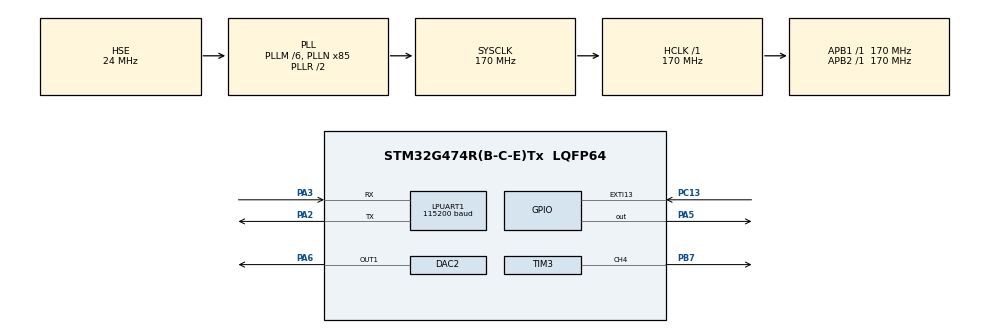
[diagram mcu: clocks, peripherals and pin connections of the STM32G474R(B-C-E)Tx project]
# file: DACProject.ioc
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DAC2.DAC_SampleAndHold-DAC_OUT1_ExtAndInt=DAC_SAMPLEANDHOLD_DISABLE
DAC2.DAC_Trigger_OUT1-DAC_OUT1_ExtAndInt=DAC_TRIGGER_T2_TRGO
Dma.DAC2_CH1.0.Direction=DMA_MEMORY_TO_PERIPH
Dma.DAC2_CH1.0.EventEnable=DISABLE
Dma.DAC2_CH1.0.Instance=DMA1_Channel1
Dma.DAC2_CH1.0.MemDataAlignment=DMA_MDATAALIGN_HALFWORD
Dma.DAC2_CH1.0.MemInc=DMA_MINC_ENABLE
Dma.DAC2_CH1.0.Mode=DMA_CIRCULAR
Dma.DAC2_CH1.0.PeriphDataAlignment=DMA_PDATAALIGN_WORD
Dma.DAC2_CH1.0.PeriphInc=DMA_PINC_DISABLE
Dma.DAC2_CH1.0.Polarity=HAL_DMAMUX_REQ_GEN_RISING
Dma.DAC2_CH1.0.Priority=DMA_PRIORITY_HIGH
Dma.DAC2_CH1.0.RequestNumber=1
Dma.DAC2_CH1.0.SignalID=NONE
Dma.DAC2_CH1.0.SyncEnable=DISABLE
Dma.DAC2_CH1.0.SyncPolarity=HAL_DMAMUX_SYNC_NO_EVENT
Dma.DAC2_CH1.0.SyncRequestNumber=1
Dma.DAC2_CH1.0.SyncSignalID=NONE
Dma.Request0=DAC2_CH1
Dma.Request1=TIM3_CH4
Dma.TIM3_CH4.1.Direction=DMA_MEMORY_TO_PERIPH
Dma.TIM3_CH4.1.EventEnable=DISABLE
Dma.TIM3_CH4.1.Instance=DMA1_Channel2
Dma.TIM3_CH4.1.MemDataAlignment=DMA_MDATAALIGN_BYTE
Dma.TIM3_CH4.1.MemInc=DMA_MINC_ENABLE
Dma.TIM3_CH4.1.Mode=DMA_NORMAL
Dma.TIM3_CH4.1.PeriphDataAlignment=DMA_PDATAALIGN_HALFWORD
Dma.TIM3_CH4.1.PeriphInc=DMA_PINC_DISABLE
Dma.TIM3_CH4.1.Polarity=HAL_DMAMUX_REQ_GEN_RISING
Dma.TIM3_CH4.1.Priority=DMA_PRIORITY_LOW
Dma.TIM3_CH4.1.RequestNumber=1
Dma.TIM3_CH4.1.SignalID=NONE
Dma.TIM3_CH4.1.SyncEnable=DISABLE
Dma.TIM3_CH4.1.SyncPolarity=HAL_DMAMUX_SYNC_NO_EVENT
Dma.TIM3_CH4.1.SyncRequestNumber=1
Dma.TIM3_CH4.1.SyncSignalID=NONE
LPUART1.BaudRate=115200
LPUART1.WordLength=UART_WORDLENGTH_8B
Mcu.Family=STM32G4
Mcu.Name=STM32G474R(B-C-E)Tx
Mcu.Package=LQFP64
NVIC.DMA1_Channel1_IRQn=true\:0\:0\:false\:false\:true\:false\:true
NVIC.DMA1_Channel2_IRQn=true\:0\:0\:false\:false\:true\:false\:true
NVIC.EXTI15_10_IRQn=true\:0\:0\:false\:false\:true\:true\:true
NVIC.PriorityGroup=NVIC_PRIORITYGROUP_4
NVIC.TIM2_IRQn=true\:0\:0\:false\:false\:true\:true\:true
NVIC.TIM3_IRQn=true\:0\:0\:false\:false\:true\:true\:true
NVIC.TIM7_DAC_IRQn=true\:0\:0\:false\:false\:true\:true\:true
PA13.Mode=Serial_Wire
PA13.Signal=SYS_JTMS-SWDIO
PA14.Mode=Serial_Wire
PA14.Signal=SYS_JTCK-SWCLK
PA2.GPIO_Mode=GPIO_MODE_AF_PP
PA2.GPIO_PuPd=GPIO_NOPULL
PA2.GPIO_Speed=GPIO_SPEED_FREQ_LOW
PA2.Mode=Asynchronous
PA2.Signal=LPUART1_TX
PA3.GPIO_Mode=GPIO_MODE_AF_PP
PA3.GPIO_PuPd=GPIO_NOPULL
PA3.GPIO_Speed=GPIO_SPEED_FREQ_LOW
PA3.Mode=Asynchronous
PA3.Signal=LPUART1_RX
PA5.GPIO_ModeDefaultOutputPP=GPIO_MODE_OUTPUT_PP
PA5.GPIO_PuPd=GPIO_NOPULL
PA5.GPIO_Speed=GPIO_SPEED_FREQ_LOW
PA5.PinState=GPIO_PIN_RESET
PA5.Signal=GPIO_Output
PA6.Signal=COMP_DAC21_group
PB3.Signal=SYS_JTDO-SWO
PB7.GPIO_ModeDefaultPP=GPIO_MODE_AF_OD
PB7.Signal=S_TIM3_CH4
PC13.GPIO_ModeDefaultEXTI=GPIO_MODE_IT_RISING
PC13.GPIO_PuPd=GPIO_NOPULL
PC13.Signal=GPXTI13
PC14-OSC32_IN.Mode=LSE-External-Oscillator
PC14-OSC32_IN.Signal=RCC_OSC32_IN
PC15-OSC32_OUT.Mode=LSE-External-Oscillator
PC15-OSC32_OUT.Signal=RCC_OSC32_OUT
PF0-OSC_IN.Mode=HSE-External-Oscillator
PF0-OSC_IN.Signal=RCC_OSC_IN
PF1-OSC_OUT.Mode=HSE-External-Oscillator
PF1-OSC_OUT.Signal=RCC_OSC_OUT
ProjectManager.HeapSize=0x200
ProjectManager.StackSize=0x400
ProjectManager.TargetToolchain=Makefile
RCC.ADC12Freq_Value=170000000
RCC.ADC345Freq_Value=170000000
RCC.AHBFreq_Value=170000000
RCC.APB1Freq_Value=170000000
RCC.APB1TimFreq_Value=170000000
RCC.APB2Freq_Value=170000000
RCC.APB2TimFreq_Value=170000000
RCC.CortexFreq_Value=170000000
RCC.EXTERNAL_CLOCK_VALUE=12288000
RCC.HCLKFreq_Value=170000000
RCC.HSE_VALUE=24000000
RCC.HSI48_VALUE=48000000
RCC.HSI_VALUE=16000000
RCC.PLLM=RCC_PLLM_DIV6
RCC.PLLN=85
RCC.PLLSourceVirtual=RCC_PLLSOURCE_HSE
RCC.RTCClockSelection=RCC_RTCCLKSOURCE_LSE
RCC.SYSCLKFreq_VALUE=170000000
RCC.SYSCLKSource=RCC_SYSCLKSOURCE_PLLCLK
RCC.USBFreq_Value=170000000
RCC.VCOOutputFreq_Value=340000000
SH.COMP_DAC21_group.0=DAC2_OUT1,DAC_OUT1_ExtAndInt
SH.S_TIM3_CH4.0=TIM3_CH4,PWM Generation4 CH4
TIM2.PeriodNoDither=642
TIM2.Prescaler=0
TIM2.TIM_MasterOutputTrigger=TIM_TRGO_UPDATE
TIM2.TIM_MasterSlaveMode=TIM_MASTERSLAVEMODE_DISABLE
TIM3.Channel-PWM\ Generation4\ CH4=TIM_CHANNEL_4
TIM3.OCPolarity_4=TIM_OCPOLARITY_LOW
TIM3.PeriodNoDither=212
TIM3.Prescaler=1
TIM3.PulseNoDither_4=0
TIM3.TIM_MasterOutputTrigger=TIM_TRGO_RESET
VP_SYS_VS_DBSignals.Mode=DisableDeadBatterySignals
VP_TIM2_VS_ClockSourceINT.Mode=Internal
VP_TIM3_VS_ClockSourceINT.Mode=Internal
board=NUCLEO-G474RE

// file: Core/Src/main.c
/* USER CODE BEGIN Header */
/**
  ******************************************************************************
  * @file           : main.c
  * @brief          : Main program body
  ******************************************************************************
  * @attention
  *
  * <h2><center>&copy; Copyright (c) 2021 STMicroelectronics.
  * All rights reserved.</center></h2>
  *
  * This software component is licensed by ST under BSD 3-Clause license,
  * the "License"; You may not use this file except in compliance with the
  * License. You may obtain a copy of the License at:
  *                        opensource.org/licenses/BSD-3-Clause
  *
  ******************************************************************************
  */
/* USER CODE END Header */
#include "main.h"
#include "dac.h"
#include "dma.h"
#include "usart.h"
#include "tim.h"
#include "gpio.h"

/* USER CODE BEGIN Includes */
#include <math.h>
#include <stdbool.h>
/* USER CODE END Includes */

void SystemClock_Config(void);

/* USER CODE BEGIN 0 */
extern uint8_t audioClip[40742];
/* USER CODE END 0 */

int main(void)
{

  /* MCU Configuration--------------------------------------------------------*/

  /* Reset of all peripherals, Initializes the Flash interface and the Systick. */
  HAL_Init();

  /* Configure the system clock */
  SystemClock_Config();

  /* Initialize all configured peripherals */
  MX_GPIO_Init();
  MX_DMA_Init();
  MX_DAC2_Init();
  MX_LPUART1_UART_Init();
  MX_TIM2_Init();
  MX_TIM3_Init();

  /* Infinite loop */
  /* USER CODE BEGIN WHILE */

  /*uint16_t Wave_LUT[] = {
      2048, 2149, 2250, 2350, 2450, 2549, 2646, 2742, 2837, 2929, 3020, 3108, 3193, 3275, 3355,
      3431, 3504, 3574, 3639, 3701, 3759, 3812, 3861, 3906, 3946, 3982, 4013, 4039, 4060, 4076,
      4087, 4094, 4095, 4091, 4082, 4069, 4050, 4026, 3998, 3965, 3927, 3884, 3837, 3786, 3730,
      3671, 3607, 3539, 3468, 3394, 3316, 3235, 3151, 3064, 2975, 2883, 2790, 2695, 2598, 2500,
      2400, 2300, 2199, 2098, 1997, 1896, 1795, 1695, 1595, 1497, 1400, 1305, 1212, 1120, 1031,
      944, 860, 779, 701, 627, 556, 488, 424, 365, 309, 258, 211, 168, 130, 97,
      69, 45, 26, 13, 4, 0, 1, 8, 19, 35, 56, 82, 113, 149, 189,
      234, 283, 336, 394, 456, 521, 591, 664, 740, 820, 902, 987, 1075, 1166, 1258,
      1353, 1449, 1546, 1645, 1745, 1845, 1946, 2047};

  const size_t samplesCount = sizeof(Wave_LUT) / sizeof(Wave_LUT[0]);

  for (size_t i=0;i<samplesCount;++i)
  {
    Wave_LUT[i] = (uint16_t)(((float)Wave_LUT[i])*0.75f);
  }*/

  union
  {
    uint16_t unsig;
    int16_t sig;
  } unsig2sig;

  const size_t audio_clip_samples_count = sizeof(audioClip) / sizeof(audioClip[0]);
  for (size_t i = 0; i < audio_clip_samples_count; i += 2)
  {
    unsig2sig.unsig = (uint16_t)(audioClip[i]);
    unsig2sig.unsig |= ((uint16_t)(audioClip[i + 1])) << 8;

    unsig2sig.sig /= 16; // dac is only 12 bits, so cut away 4 bits (2 ^ 4 = 16)
    //unsig2sig.sig /= 2;  // dac can't do negative voltages so halve signal (+ a bit more) and offset by 2^12 / 2
    unsig2sig.sig += 4096 / 2;

    if (unsig2sig.sig < 0 || unsig2sig.sig > 4095)
    {
      __asm("bkpt");
    }

    audioClip[i] = (uint8_t)(unsig2sig.unsig & 0x00FF);
    audioClip[i + 1] = (uint8_t)(unsig2sig.unsig >> 8);
  }

  //HAL_DAC_Start(&hdac2, DAC_CHANNEL_1);
  HAL_TIM_Base_Start(&htim2);
  //HAL_DAC_Start_DMA(&hdac2, DAC_CHANNEL_1, (uint32_t *)Wave_LUT, samplesCount, DAC_ALIGN_12B_R);
  HAL_DAC_Start_DMA(&hdac2, DAC_CHANNEL_1, (uint32_t *)audioClip, audio_clip_samples_count/2, DAC_ALIGN_12B_R);

  // 170mhz timer clock / 2 prescaler:  1 cycle = 12ns
  //

  const uint8_t zero = 212 - 144;
  const uint8_t one_ = 212 - 76;
  const uint8_t rst_ = 0;

#define ResetSequence rst_, rst_, rst_, rst_, rst_, rst_, rst_, rst_, rst_, rst_, rst_, rst_, rst_, rst_, rst_, rst_, rst_, rst_, rst_, rst_, rst_, rst_, rst_, rst_

#define ResetSequenceLength 300

  uint8_t pwm_lut[ResetSequenceLength + 24 * 27] = {0};

  const size_t pwm_lut_count = sizeof(pwm_lut) / sizeof(pwm_lut[0]);

  for (size_t i = 0; i < ResetSequenceLength; ++i)
  {
    pwm_lut[i] = rst_;
  }

  for (size_t i = ResetSequenceLength; i < pwm_lut_count; ++i)
  {
    pwm_lut[i] = zero;
  }

  /*for (size_t i = 0;i<8;++i)
  {
    pwm_lut[ResetSequenceLength  + i] = one_;
  }*/
  pwm_lut[ResetSequenceLength + 5] = one_;

  //HAL_TIM_PWM_Start(&htim3, TIM_CHANNEL_4);

  HAL_TIM_PWM_Start_DMA(&htim3, TIM_CHANNEL_4, (uint32_t *)pwm_lut, pwm_lut_count);
  bool flip = false;
  while (1)
  {

    //volatile HAL_StatusTypeDef res = HAL_DAC_Start_DMA(&hdac2, DAC_CHANNEL_1, (uint32_t*)audio, SAMPLE_SIZE, DAC_ALIGN_12B_L);

    //__asm("bkpt");
    for (int i = 0; i < 150; ++i)
    {
      //HAL_DAC_SetValue(&hdac2, DAC_CHANNEL_1, DAC_ALIGN_12B_R, sine_wave_array[i]);

      for (uint64_t i = 0; i < 1700; i++)
      {
        __asm("nop");
      }
    }
    if (flip) {
      pwm_lut[ResetSequenceLength + 5] = one_;
    } else {
      pwm_lut[ResetSequenceLength + 5] = zero;
    }
    flip = !flip;
    /* USER CODE END WHILE */

  }
}

void SystemClock_Config(void)
{
  RCC_OscInitTypeDef RCC_OscInitStruct = {0};
  RCC_ClkInitTypeDef RCC_ClkInitStruct = {0};
  RCC_PeriphCLKInitTypeDef PeriphClkInit = {0};

  /** Configure the main internal regulator output voltage
  */
  HAL_PWREx_ControlVoltageScaling(PWR_REGULATOR_VOLTAGE_SCALE1_BOOST);
  /** Initializes the RCC Oscillators according to the specified parameters
  * in the RCC_OscInitTypeDef structure.
  */
  RCC_OscInitStruct.OscillatorType = RCC_OSCILLATORTYPE_HSE;
  RCC_OscInitStruct.HSEState = RCC_HSE_ON;
  RCC_OscInitStruct.PLL.PLLState = RCC_PLL_ON;
  RCC_OscInitStruct.PLL.PLLSource = RCC_PLLSOURCE_HSE;
  RCC_OscInitStruct.PLL.PLLM = RCC_PLLM_DIV6;
  RCC_OscInitStruct.PLL.PLLN = 85;
  RCC_OscInitStruct.PLL.PLLP = RCC_PLLP_DIV2;
  RCC_OscInitStruct.PLL.PLLQ = RCC_PLLQ_DIV2;
  RCC_OscInitStruct.PLL.PLLR = RCC_PLLR_DIV2;
  if (HAL_RCC_OscConfig(&RCC_OscInitStruct) != HAL_OK)
  {
    Error_Handler();
  }
  /** Initializes the CPU, AHB and APB buses clocks
  */
  RCC_ClkInitStruct.ClockType = RCC_CLOCKTYPE_HCLK | RCC_CLOCKTYPE_SYSCLK | RCC_CLOCKTYPE_PCLK1 | RCC_CLOCKTYPE_PCLK2;
  RCC_ClkInitStruct.SYSCLKSource = RCC_SYSCLKSOURCE_PLLCLK;
  RCC_ClkInitStruct.AHBCLKDivider = RCC_SYSCLK_DIV1;
  RCC_ClkInitStruct.APB1CLKDivider = RCC_HCLK_DIV1;
  RCC_ClkInitStruct.APB2CLKDivider = RCC_HCLK_DIV1;

  if (HAL_RCC_ClockConfig(&RCC_ClkInitStruct, FLASH_LATENCY_4) != HAL_OK)
  {
    Error_Handler();
  }
  /** Initializes the peripherals clocks
  */
  PeriphClkInit.PeriphClockSelection = RCC_PERIPHCLK_LPUART1;
  PeriphClkInit.Lpuart1ClockSelection = RCC_LPUART1CLKSOURCE_PCLK1;
  if (HAL_RCCEx_PeriphCLKConfig(&PeriphClkInit) != HAL_OK)
  {
    Error_Handler();
  }
}

void Error_Handler(void)
{
}

/************************ (C) COPYRIGHT STMicroelectronics *****END OF FILE****/
